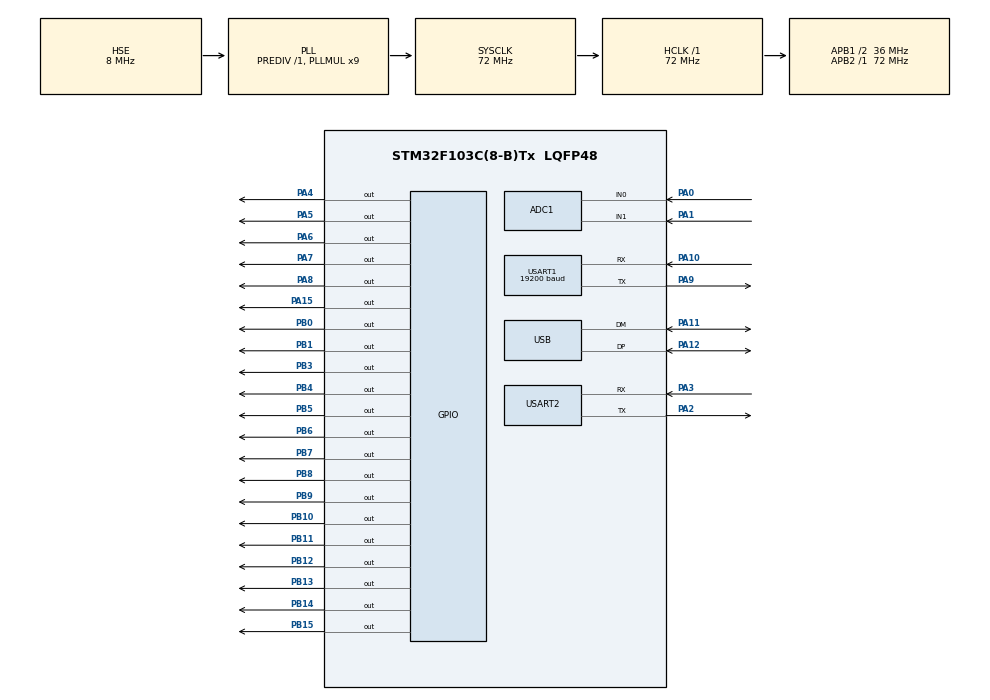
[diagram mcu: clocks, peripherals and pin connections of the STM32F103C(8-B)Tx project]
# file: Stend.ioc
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ADC1.Channel-0\#ChannelRegularConversion=ADC_CHANNEL_0
ADC1.Channel-1\#ChannelInjectedConversion=ADC_CHANNEL_0
ADC1.Channel-2\#ChannelInjectedConversion=ADC_CHANNEL_1
ADC1.ContinuousConvMode=DISABLE
ADC1.DataAlign=ADC_DATAALIGN_RIGHT
ADC1.DiscontinuousConvMode=ENABLE
ADC1.EnableAnalogWatchDog=false
ADC1.EnableRegularConversion=ENABLE
ADC1.ExternalTrigConv=ADC_SOFTWARE_START
ADC1.ExternalTrigInjecConv=ADC_INJECTED_SOFTWARE_START
ADC1.InjNumberOfConversion=2
ADC1.InjectedConvMode=None
ADC1.InjectedOffset-1\#ChannelInjectedConversion=0
ADC1.InjectedOffset-2\#ChannelInjectedConversion=0
ADC1.NbrOfConversion=1
ADC1.NbrOfConversionFlag=1
ADC1.NbrOfDiscConversion=1
ADC1.Rank-0\#ChannelRegularConversion=1
ADC1.Rank-1\#ChannelInjectedConversion=1
ADC1.Rank-2\#ChannelInjectedConversion=2
ADC1.SamplingTime-0\#ChannelRegularConversion=ADC_SAMPLETIME_1CYCLE_5
ADC1.SamplingTime-1\#ChannelInjectedConversion=ADC_SAMPLETIME_1CYCLE_5
ADC1.SamplingTime-2\#ChannelInjectedConversion=ADC_SAMPLETIME_1CYCLE_5
ADC1.ScanConvMode=ADC_SCAN_ENABLE
ADC1.master=1
FREERTOS.Tasks01=defaultTask,0,128,StartDefaultTask,Default,NULL
Mcu.Family=STM32F1
Mcu.Name=STM32F103C(8-B)Tx
Mcu.Package=LQFP48
NVIC.ADC1_2_IRQn=true\:5\:0\:false\:false\:true\:true\:true
NVIC.PriorityGroup=NVIC_PRIORITYGROUP_4
NVIC.TIM1_UP_IRQn=true\:0\:0\:false\:false\:true\:false\:false
NVIC.TimeBase=TIM1_UP_IRQn
NVIC.TimeBaseIP=TIM1
NVIC.USART1_IRQn=true\:5\:0\:false\:false\:true\:true\:true
NVIC.USART2_IRQn=true\:5\:0\:false\:false\:true\:true\:true
NVIC.USB_HP_CAN1_TX_IRQn=true\:5\:0\:false\:false\:true\:true\:true
NVIC.USB_LP_CAN1_RX0_IRQn=true\:5\:0\:false\:false\:true\:true\:false
PA0-WKUP.Signal=ADCx_IN0
PA1.Signal=ADCx_IN1
PA10.Mode=Asynchronous
PA10.Signal=USART1_RX
PA11.Mode=Device
PA11.Signal=USB_DM
PA12.Mode=Device
PA12.Signal=USB_DP
PA13.Mode=Serial_Wire
PA13.Signal=SYS_JTMS-SWDIO
PA14.Mode=Serial_Wire
PA14.Signal=SYS_JTCK-SWCLK
PA15.Signal=GPIO_Output
PA2.Mode=Asynchronous
PA2.Signal=USART2_TX
PA3.Mode=Asynchronous
PA3.Signal=USART2_RX
PA4.Signal=GPIO_Output
PA5.Signal=GPIO_Output
PA6.Signal=GPIO_Output
PA7.Signal=GPIO_Output
PA8.Signal=GPIO_Output
PA9.Mode=Asynchronous
PA9.Signal=USART1_TX
PB0.Signal=GPIO_Output
PB1.Signal=GPIO_Output
PB10.Signal=GPIO_Output
PB11.Signal=GPIO_Output
PB12.Signal=GPIO_Output
PB13.Signal=GPIO_Output
PB14.Signal=GPIO_Output
PB15.Signal=GPIO_Output
PB3.Signal=GPIO_Output
PB4.Signal=GPIO_Output
PB5.Signal=GPIO_Output
PB6.Signal=GPIO_Output
PB7.Signal=GPIO_Output
PB8.Signal=GPIO_Output
PB9.Signal=GPIO_Output
PD0-OSC_IN.Mode=HSE-External-Oscillator
PD0-OSC_IN.Signal=RCC_OSC_IN
PD1-OSC_OUT.Mode=HSE-External-Oscillator
PD1-OSC_OUT.Signal=RCC_OSC_OUT
ProjectManager.HeapSize=0x200
ProjectManager.StackSize=0x400
ProjectManager.TargetToolchain=MDK-ARM V5
RCC.ADCPresc=RCC_ADCPCLK2_DIV6
RCC.AHBFreq_Value=72000000
RCC.APB1CLKDivider=RCC_HCLK_DIV2
RCC.APB1Freq_Value=36000000
RCC.APB1TimFreq_Value=72000000
RCC.APB2Freq_Value=72000000
RCC.APB2TimFreq_Value=72000000
RCC.HCLKFreq_Value=72000000
RCC.PLLMUL=RCC_PLL_MUL9
RCC.SYSCLKFreq_VALUE=72000000
RCC.SYSCLKSource=RCC_SYSCLKSOURCE_PLLCLK
RCC.USBFreq_Value=48000000
RCC.USBPrescaler=RCC_USBCLKSOURCE_PLL_DIV1_5
SH.ADCx_IN0.0=ADC1_IN0,IN0
SH.ADCx_IN1.0=ADC1_IN1,IN1
USART1.BaudRate=19200
USART1.VirtualMode=VM_ASYNC
USART2.VirtualMode=VM_ASYNC
USB.ep0_mps=DEP0CTL_MPS_64
USB_DEVICE.CLASS_NAME_FS=CDC
USB_DEVICE.VirtualMode=Cdc
USB_DEVICE.VirtualModeFS=Cdc_FS
VP_FREERTOS_VS_ENABLE.Mode=Enabled
VP_RTC_VS_RTC_Activate.Mode=RTC_Enabled
VP_SYS_VS_tim1.Mode=TIM1
VP_USB_DEVICE_VS_USB_DEVICE_CDC_FS.Mode=CDC_FS
board=Stend

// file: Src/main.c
/**
  ******************************************************************************
  * @file           : main.c
  * @brief          : Main program body
  ******************************************************************************
  * This notice applies to any and all portions of this file
  * that are not between comment pairs USER CODE BEGIN and
  * USER CODE END. Other portions of this file, whether
  * inserted by the user or by software development tools
  * are owned by their respective copyright owners.
  *
  * Copyright (c) 2018 STMicroelectronics International N.V.
  * All rights reserved.
  *
  * Redistribution and use in source and binary forms, with or without
  * modification, are permitted, provided that the following conditions are met:
  *
  * 1. Redistribution of source code must retain the above copyright notice,
  *    this list of conditions and the following disclaimer.
  * 2. Redistributions in binary form must reproduce the above copyright notice,
  *    this list of conditions and the following disclaimer in the documentation
  *    and/or other materials provided with the distribution.
  * 3. Neither the name of STMicroelectronics nor the names of other
  *    contributors to this software may be used to endorse or promote products
  *    derived from this software without specific written permission.
  * 4. This software, including modifications and/or derivative works of this
  *    software, must execute solely and exclusively on microcontroller or
  *    microprocessor devices manufactured by or for STMicroelectronics.
  * 5. Redistribution and use of this software other than as permitted under
  *    this license is void and will automatically terminate your rights under
  *    this license.
  *
  * THIS SOFTWARE IS PROVIDED BY STMICROELECTRONICS AND CONTRIBUTORS "AS IS"
  * AND ANY EXPRESS, IMPLIED OR STATUTORY WARRANTIES, INCLUDING, BUT NOT
  * LIMITED TO, THE IMPLIED WARRANTIES OF MERCHANTABILITY, FITNESS FOR A
  * PARTICULAR PURPOSE AND NON-INFRINGEMENT OF THIRD PARTY INTELLECTUAL PROPERTY
  * RIGHTS ARE DISCLAIMED TO THE FULLEST EXTENT PERMITTED BY LAW. IN NO EVENT
  * SHALL STMICROELECTRONICS OR CONTRIBUTORS BE LIABLE FOR ANY DIRECT, INDIRECT,
  * INCIDENTAL, SPECIAL, EXEMPLARY, OR CONSEQUENTIAL DAMAGES (INCLUDING, BUT NOT
  * LIMITED TO, PROCUREMENT OF SUBSTITUTE GOODS OR SERVICES; LOSS OF USE, DATA,
  * OR PROFITS; OR BUSINESS INTERRUPTION) HOWEVER CAUSED AND ON ANY THEORY OF
  * LIABILITY, WHETHER IN CONTRACT, STRICT LIABILITY, OR TORT (INCLUDING
  * NEGLIGENCE OR OTHERWISE) ARISING IN ANY WAY OUT OF THE USE OF THIS SOFTWARE,
  * EVEN IF ADVISED OF THE POSSIBILITY OF SUCH DAMAGE.
  *
  ******************************************************************************
  */
#include "main.h"
#include "stm32f1xx_hal.h"
#include "cmsis_os.h"
#include "adc.h"
#include "rtc.h"
#include "usart.h"
#include "usb_device.h"
#include "gpio.h"

/* USER CODE BEGIN Includes */
#include "usbd_cdc_if.h"
#include "my_var.h"
/* USER CODE END Includes */

/* USER CODE BEGIN PV */
/* Private variables ---------------------------------------------------------*/
uint16_t rx1_uart_counter = 0;
uint16_t rx2_uart_counter = 0;
xQueueHandle UART1_Rx_Que;
xQueueHandle UART2_Rx_Que;
portBASE_TYPE xStatus_Rx_UART1;
portBASE_TYPE xStatus_Rx_UART2;
uint8_t rx1_byte[9];
uint8_t rx2_byte[10];
uint8_t rx1_byte_len = 9;
//float adcResult11 = 0;  //значение снятое с АЦП 1 канала
//float adcResult22 = 0;  //значение снятое с АЦП 2 канала
//float adcResult33 = 0;  //значение снятое с АЦП 3 канала
//float adcResult44 = 0;  //значение снятое с АЦП 4 канала
/* USER CODE END PV */

void SystemClock_Config(void);
void MX_FREERTOS_Init(void);

/* USER CODE BEGIN PFP */
/* Private function prototypes -----------------------------------------------*/

/* USER CODE END PFP */

/* USER CODE BEGIN 0 */
// Прием UART в USART1_IRQHandler
// исправления для rtc
//    HAL_PWR_EnableBkUpAccess();
//    /* Enable BKP CLK enable for backup registers */
//    __HAL_RCC_BKP_CLK_ENABLE();
//    /* RTC clock enable */
//    __HAL_RCC_RTC_ENABLE();
/* USER CODE END 0 */

int main(void)
{

  /* MCU Configuration----------------------------------------------------------*/

  /* Reset of all peripherals, Initializes the Flash interface and the Systick. */
  HAL_Init();

  /* Configure the system clock */
  SystemClock_Config();

  //HAL_Delay(2000);
  /* Initialize all configured peripherals */
  MX_GPIO_Init();
  MX_RTC_Init();
  MX_USART1_UART_Init();
	MX_USART2_UART_Init();
  MX_ADC1_Init();
  /* USER CODE BEGIN 2 */
	// Прием UART в USART1_IRQHandler
	UART1_Rx_Que = xQueueCreate(5, sizeof(rx1_byte));
	UART2_Rx_Que = xQueueCreate(5, sizeof(rx2_byte));
	//HAL_UART_Receive_IT (&huart1,(uint8_t*)&rx1_byte,9);
	//HAL_UART_Receive_IT (&huart2,(uint8_t*)&rx2_byte,4);

  /* USER CODE END 2 */

  /* Call init function for freertos objects (in freertos.c) */
  MX_FREERTOS_Init();

  /* Start scheduler */
  osKernelStart();

  /* We should never get here as control is now taken by the scheduler */

  /* Infinite loop */
  while (1)
  {
// uint8_t test[1];
//		test[0] = 1;
//		test[0] = 2;
//  /* USER CODE BEGIN 3 */
//  HAL_UART_Transmit(&huart1,(uint8_t*)test, 2,10);

  /* Infinite loop */
  }
  /* USER CODE END 3 */

}

void SystemClock_Config(void)
{

  RCC_OscInitTypeDef RCC_OscInitStruct;
  RCC_ClkInitTypeDef RCC_ClkInitStruct;
  RCC_PeriphCLKInitTypeDef PeriphClkInit;

    /**Initializes the CPU, AHB and APB busses clocks
    */
  RCC_OscInitStruct.OscillatorType = RCC_OSCILLATORTYPE_LSI|RCC_OSCILLATORTYPE_HSE;
  RCC_OscInitStruct.HSEState = RCC_HSE_ON;
  RCC_OscInitStruct.HSEPredivValue = RCC_HSE_PREDIV_DIV1;
  RCC_OscInitStruct.HSIState = RCC_HSI_ON;
  RCC_OscInitStruct.LSIState = RCC_LSI_ON;
  RCC_OscInitStruct.PLL.PLLState = RCC_PLL_ON;
  RCC_OscInitStruct.PLL.PLLSource = RCC_PLLSOURCE_HSE;
  RCC_OscInitStruct.PLL.PLLMUL = RCC_PLL_MUL9;
  if (HAL_RCC_OscConfig(&RCC_OscInitStruct) != HAL_OK)
  {
    _Error_Handler(__FILE__, __LINE__);
  }

    /**Initializes the CPU, AHB and APB busses clocks
    */
  RCC_ClkInitStruct.ClockType = RCC_CLOCKTYPE_HCLK|RCC_CLOCKTYPE_SYSCLK
                              |RCC_CLOCKTYPE_PCLK1|RCC_CLOCKTYPE_PCLK2;
  RCC_ClkInitStruct.SYSCLKSource = RCC_SYSCLKSOURCE_PLLCLK;
  RCC_ClkInitStruct.AHBCLKDivider = RCC_SYSCLK_DIV1;
  RCC_ClkInitStruct.APB1CLKDivider = RCC_HCLK_DIV2;
  RCC_ClkInitStruct.APB2CLKDivider = RCC_HCLK_DIV1;

  if (HAL_RCC_ClockConfig(&RCC_ClkInitStruct, FLASH_LATENCY_2) != HAL_OK)
  {
    _Error_Handler(__FILE__, __LINE__);
  }

  PeriphClkInit.PeriphClockSelection = RCC_PERIPHCLK_RTC|RCC_PERIPHCLK_ADC
                              |RCC_PERIPHCLK_USB;
  PeriphClkInit.RTCClockSelection = RCC_RTCCLKSOURCE_LSI;
  PeriphClkInit.AdcClockSelection = RCC_ADCPCLK2_DIV6;
  PeriphClkInit.UsbClockSelection = RCC_USBCLKSOURCE_PLL_DIV1_5;
  if (HAL_RCCEx_PeriphCLKConfig(&PeriphClkInit) != HAL_OK)
  {
    _Error_Handler(__FILE__, __LINE__);
  }

    /**Configure the Systick interrupt time
    */
  HAL_SYSTICK_Config(HAL_RCC_GetHCLKFreq()/1000);

    /**Configure the Systick
    */
  HAL_SYSTICK_CLKSourceConfig(SYSTICK_CLKSOURCE_HCLK);

  /* SysTick_IRQn interrupt configuration */
  HAL_NVIC_SetPriority(SysTick_IRQn, 15, 0);
}

/* USER CODE BEGIN 4 */
uint8_t rx1_uart_counter_error = 0;
void HAL_UART_RxCpltCallback (UART_HandleTypeDef *huart)
{
	if (huart == &huart1) {
		rx1_uart_counter ++;
		if (rx1_byte[0] != 0x00){
	    xStatus_Rx_UART1 = xQueueSendToBackFromISR(UART1_Rx_Que,&rx1_byte,0);
	  }
		for(uint8_t	 cl_i=0;cl_i<=8;cl_i++){
		  rx1_byte[cl_i] = 0;
	  }
	}
	if (huart == &huart2) {
		HAL_UART_Receive_IT (&huart2,rx2_byte,4);
		rx2_uart_counter ++;
		if (rx2_byte[0] == 0x04 || rx2_byte[0] == 0x05 || rx2_byte[0] == 0x03){
	    xStatus_Rx_UART2 = xQueueSendToBackFromISR(UART2_Rx_Que,&rx2_byte,0);
	  }
		else HAL_Delay(10);		//без этой задержки прием переодически отключается
		for(uint8_t	 cl_i=0;cl_i<=4;cl_i++){
		  rx2_byte[cl_i] = 0;
	  }
	}

}

//	HAL_UART_Receive_IT (&huart1,(uint8_t*)&rx1_byte,rx1_byte_len);
//	if (rx1_IRQ_uart_counter >= 9){
//	  xStatus_Rx_UART1 = xQueueSendToBackFromISR(UART1_Rx_Que,&rx1_byte,0);
//	  for (uint8_t uart_j=0;uart_j<=sizeof(rx1_byte)/sizeof(rx1_byte[0]);uart_j++ ){
//		  rx1_byte[uart_j] = 0;
//	  }
//		rx1_IRQ_uart_counter = 0;
//  }
//	rx2_IRQ_uart_counter ++;
//void HAL_ADCEx_InjectedConvCpltCallback (ADC_HandleTypeDef * hadc)
//{
//	adcResult11 = HAL_ADCEx_InjectedGetValue(&hadc1, ADC_INJECTED_RANK_1);
//	adcResult22 = HAL_ADCEx_InjectedGetValue(&hadc1, ADC_INJECTED_RANK_2);
//	adcResult33 = HAL_ADCEx_InjectedGetValue(&hadc1, ADC_INJECTED_RANK_3);
//	adcResult44 = HAL_ADCEx_InjectedGetValue(&hadc1, ADC_INJECTED_RANK_3);
//}
/* USER CODE END 4 */

void HAL_TIM_PeriodElapsedCallback(TIM_HandleTypeDef *htim)
{
  if (htim->Instance == TIM1) {
    HAL_IncTick();
  }
}

void _Error_Handler(char *file, int line)
{
  /* USER CODE BEGIN Error_Handler_Debug */
  /* User can add his own implementation to report the HAL error return state */
  while(1)
  {
		HAL_GPIO_WritePin(LED3_Off);
  }
  /* USER CODE END Error_Handler_Debug */
}

/************************ (C) COPYRIGHT STMicroelectronics *****END OF FILE****/

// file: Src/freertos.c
/**
  ******************************************************************************
  * File Name          : freertos.c
  * Description        : Code for freertos applications
  ******************************************************************************
  * This notice applies to any and all portions of this file
  * that are not between comment pairs USER CODE BEGIN and
  * USER CODE END. Other portions of this file, whether
  * inserted by the user or by software development tools
  * are owned by their respective copyright owners.
  *
  * Copyright (c) 2018 STMicroelectronics International N.V.
  * All rights reserved.
  *
  * Redistribution and use in source and binary forms, with or without
  * modification, are permitted, provided that the following conditions are met:
  *
  * 1. Redistribution of source code must retain the above copyright notice,
  *    this list of conditions and the following disclaimer.
  * 2. Redistributions in binary form must reproduce the above copyright notice,
  *    this list of conditions and the following disclaimer in the documentation
  *    and/or other materials provided with the distribution.
  * 3. Neither the name of STMicroelectronics nor the names of other
  *    contributors to this software may be used to endorse or promote products
  *    derived from this software without specific written permission.
  * 4. This software, including modifications and/or derivative works of this
  *    software, must execute solely and exclusively on microcontroller or
  *    microprocessor devices manufactured by or for STMicroelectronics.
  * 5. Redistribution and use of this software other than as permitted under
  *    this license is void and will automatically terminate your rights under
  *    this license.
  *
  * THIS SOFTWARE IS PROVIDED BY STMICROELECTRONICS AND CONTRIBUTORS "AS IS"
  * AND ANY EXPRESS, IMPLIED OR STATUTORY WARRANTIES, INCLUDING, BUT NOT
  * LIMITED TO, THE IMPLIED WARRANTIES OF MERCHANTABILITY, FITNESS FOR A
  * PARTICULAR PURPOSE AND NON-INFRINGEMENT OF THIRD PARTY INTELLECTUAL PROPERTY
  * RIGHTS ARE DISCLAIMED TO THE FULLEST EXTENT PERMITTED BY LAW. IN NO EVENT
  * SHALL STMICROELECTRONICS OR CONTRIBUTORS BE LIABLE FOR ANY DIRECT, INDIRECT,
  * INCIDENTAL, SPECIAL, EXEMPLARY, OR CONSEQUENTIAL DAMAGES (INCLUDING, BUT NOT
  * LIMITED TO, PROCUREMENT OF SUBSTITUTE GOODS OR SERVICES; LOSS OF USE, DATA,
  * OR PROFITS; OR BUSINESS INTERRUPTION) HOWEVER CAUSED AND ON ANY THEORY OF
  * LIABILITY, WHETHER IN CONTRACT, STRICT LIABILITY, OR TORT (INCLUDING
  * NEGLIGENCE OR OTHERWISE) ARISING IN ANY WAY OUT OF THE USE OF THIS SOFTWARE,
  * EVEN IF ADVISED OF THE POSSIBILITY OF SUCH DAMAGE.
  *
  ******************************************************************************
  */

#include "FreeRTOS.h"
#include "task.h"
#include "cmsis_os.h"

/* USER CODE BEGIN Includes */
#include "usbd_cdc_if.h"
#include "adc.h"
#include "rtc.h"
#include "usart.h"
#include "usb_device.h"
#include "gpio.h"
#include "my_var.h"
#include "math.h"

//проверка что в бит установленна единица
#define bitRead(data,bitno)            ((data >> bitno) & 0x01)
#define bitSet(data, bit)              ((data) |= (1UL << (bit)))
#define bitClear(data, bit)            ((data) &= ~(1UL << (bit)))
#define bitWrite(data, bit, bitvalue)  (bitvalue ? bitSet(data, bit) : bitClear(data, bit))

// преобразование из uint16_t в uint8_t
#define BYTE_0(n) ((uint8_t)((n) & (uint8_t)0xFF))        /*!< Returns the low byte of the 16-bit value */
#define BYTE_1(n) ((uint8_t)(BYTE_0((n) >> (uint8_t)8)))  /*!< Returns the second byte of the 16-bit value */
/* USER CODE END Includes */

// ключи на клапана и двигатели
#define Klapan_1_on Key2_On
#define Klapan_1_off Key2_Off
#define Klapan_2_on Key1_On
#define Klapan_2_off Key1_Off
#define Klapan_3_on Key4_On
#define Klapan_3_off Key4_Off
#define Klapan_4_on Key3_On
#define Klapan_4_off Key3_Off
#define Klapan_5_on Key6_On
#define Klapan_5_off Key6_Off
#define Klapan_6_on Key5_On
#define Klapan_6_off Key5_Off
#define Engine_1_on Key10_On
#define Engine_1_off Key10_Off
#define Engine_2_start_on Key9_On
#define Engine_2_start_off Key9_Off
#define Engine_2_reverse_on Key11_On
#define Engine_2_reverse_off Key11_Off
#define Engine_2_stop_on Key12_On
#define Engine_2_stop_off Key12_Off
//чтение клапанов и двигателя
#define Klapan_1 GPIOB,GPIO_PIN_12
#define Klapan_2 GPIOB,GPIO_PIN_13
#define Klapan_3 GPIOB,GPIO_PIN_14
#define Klapan_4 GPIOB,GPIO_PIN_3
#define Klapan_5 GPIOB,GPIO_PIN_4
#define Klapan_6 GPIOB,GPIO_PIN_5
#define Engine_1 GPIOB,GPIO_PIN_8
#define Engine_2_start GPIOB,GPIO_PIN_9
#define Engine_2_stop GPIOB,GPIO_PIN_10
#define Engine_2_reverse GPIOB,GPIO_PIN_11
// ДОБАВИТЬ РЕВЕРС

osThreadId defaultTaskHandle;
osThreadId myTask02Handle;
osThreadId myTask03Handle;
osThreadId myTask04Handle;
osThreadId myTask05Handle;
osThreadId myTask06Handle;
osThreadId myTask07Handle;
osThreadId myTask08Handle;
osThreadId myTask09Handle;
osThreadId myTask10Handle;
osThreadId myTask11Handle;

/* USER CODE BEGIN Variables */

uint8_t test_i = 0;
//union {
//   float a;
//   unsigned char bytes[4];
//} thing;
//{0xD6,0x6D,0x42,0x9E}; DC BA
unsigned char bytes[4] = {0x6D,0xD6,0x9E,0x42};
//volatile float float_variable = 0;
//volatile uint16_t crc_modbus = 0;

float liquid_level_sensor = 0;  //значение снятое с АЦП 1 канала
//усредняем значение
float sum_liquid_level_sensor = 0;
//истинное значение
float true_liquid_level_sensor = 0;

float temp_sensor = 0;  //значение снятое с АЦП 2 канала
//усредняем значение
float sum_temp_sensor = 0;
//истинное значение
float true_temp_sensor = 0;

uint8_t temperature = 0; //значение температуры
uint8_t liquid_level = 0; //уровень жидкости
uint16_t moment = 0; //момент
float moment_float = 0; //момент
uint16_t pressure = 0; //давление

uint8_t ReceiveData[2];
char str_rx[2];

xQueueHandle UART1_Tx_Que;//очередь на отправку в UART1
portBASE_TYPE xStatus_Tx_UART1;
uint8_t tx1_buffer_que[10];//буфер для очереди на отправку в UART1

xQueueHandle UART2_Tx_Que;//очередь на отправку в UART2
portBASE_TYPE xStatus_Tx_UART2;
uint8_t tx2_buffer_que[10];//буфер для очереди на отправку в UART2

HAL_StatusTypeDef TransmitStatusUART1 = HAL_TIMEOUT;
uint16_t len_tx1_buffer = 1;
uint8_t tx1_buffer_go[10];

HAL_StatusTypeDef TransmitStatusUART2 = HAL_TIMEOUT;
uint16_t len_tx2_buffer = 0;
uint8_t tx2_buffer_go[4];

uint8_t test1 = 0;
// Статус включения двигателя
uint8_t Engine_1_State = 0;
uint8_t Engine_2_StateStart = 0;
uint8_t Engine_2_StateStop = 0;
uint8_t Engine_2_StateReverse = 0;
uint8_t Klapan_6_State = 0;

HAL_StatusTypeDef TransmitStatusUSB = HAL_TIMEOUT;
uint8_t DataToSendUSB_1[8];
uint8_t DataToSendUSB_2[8];
uint8_t DataToSendUSB_all[24];
// массив с состоянием ключей
uint8_t key_read[6];
uint8_t i = 0;
// Флаг проверки коректного принятого сообщения
uint8_t new_message_flag = 0;
uint8_t rx_usb_message_count = 0; //кол-во элементов в буфере UART_1
uint8_t rx_usb_message[64]; //буфер UART_1
//флаг статуса работы
uint8_t hello = 0;
uint8_t book_load = 0;
uint8_t param_load = 0;
uint8_t exper_run = 0; // 1 - испытание 1, 2 - испытание 2, 3-испытание закончено, 0-испытание нет
uint8_t i_exper = 0;
uint8_t error_status = 0;
uint8_t error_status_buf = 0;
// Команды на включение двигателей
// 0=выкл,1=вкл,
uint8_t Engine_1_Command = 0;
// 0=выкл,1=вкл,-1=реверс
int8_t Engine_2_Command = 0;
//запрос ответа
uint8_t request_answer = 0;
//запрос данных
uint8_t request_data = 0;
// счетчик бит для ответов
uint8_t hearth_bit_answer = 0;
uint8_t old_hearth_bit_answer = 0;
//остановка по команде оператора
uint8_t flag_operator_stop = 0;
//остановка флаг аварийного режима
uint8_t flag_emergency_mode = 0;
// время до окончания аварийного режима
uint16_t time_emergency_mode = 0;
// параметры сценария = {3, 4, 5, 6, 7, 8, 9, 10, 11, 10};
uint16_t book_time[200];
uint16_t book_pressure[200] = {
 0,   0,  0,  5, 10, 15, 20, 25, 30, 35,
 40, 45, 50, 55, 60, 65, 70, 75, 80, 85,
 90, 95,100,105,110,115,120,125,130,135,
140,145,150,155,160,165,170,175,180,185,
190,195,200,195,190,185,180,175,170,165,
160,155,150,145,140,135,130,125,120,115,
110,105,100, 95, 90, 85, 80, 75, 70, 65,
 60, 55, 50, 45, 40, 35, 30, 25, 20, 15,
 10,  5,  0,  0,  0,  0,  5, 10, 15, 20, 25, 30, 35,
 40, 45, 50, 55, 60, 65, 70, 75, 80, 85,
 90, 95,100,105,110,115,120,125,130,135,
140,145,150,155,160,165,170,175,180,185,
190,195,200,195,190,185,180,175,170,165,
160,155,150,145,140,135,130,125,120,115,
110,105,100, 95, 90, 85, 80, 75, 70, 65,
 60, 55, 50, 45, 40, 35, 30, 25, 20, 15,
 10,  5,  0,  0,  0,  0};
uint8_t book_valve_state[200] = {
18, 37, 37, 37, 37, 37, 37, 37, 37, 37,
37, 37, 37, 37, 37, 37, 37, 37, 37, 37,
37, 37, 37, 37, 37, 37, 37, 37, 37, 37,
37, 37, 37, 37, 37, 37, 37, 37, 37, 37,
37, 37, 37, 37, 37, 37, 37, 37, 37, 37,
37, 37, 37, 37, 37, 37, 37, 37, 37, 37,
37, 37, 37, 37, 37, 37, 37, 37, 37, 37,
37, 37, 37, 37, 37, 37, 37, 37, 37, 37,
37, 37, 37, 32, 42, 42, 42, 42, 42, 42,
42, 42, 42, 42, 42, 42, 42, 42, 42, 42,
42, 42, 42, 42, 42, 42, 42, 42, 42, 42,
42, 42, 42, 42, 42, 42, 42, 42, 42, 42,
42, 42, 42, 42, 42, 42, 42, 42, 42, 42,
42, 42, 42, 42, 42, 42, 42, 42, 42, 42,
42, 42, 42, 42, 42, 42, 42, 42, 42, 42,
42, 42, 42, 42, 42, 42, 42, 42, 42, 42,
42, 42, 42, 42, 42, 42,  0, 20,  0};
uint8_t book_engine_state[200]= {
 2,  0,  1,  1,  1,  1,  1,  1,  1,  1,
 1,  1,  1,  1,  1,  1,  1,  1,  1,  1,
 1,  1,  1,  1,  1,  1,  1,  1,  1,  1,
 1,  1,  1,  1,  1,  1,  1,  1,  1,  1,
 1,  1,  1,  1,  1,  1,  1,  1,  1,  1,
 1,  1,  1,  1,  1,  1,  1,  1,  1,  1,
 1,  1,  1,  1,  1,  1,  1,  1,  1,  1,
 1,  1,  1,  1,  1,  1,  1,  1,  1,  1,
 1,  1,  1,  1,  1,  1,  1,  1,  1,  1,
 1,  1,  1,  1,  1,  1,  1,  1,  1,  1,
 1,  1,  1,  1,  1,  1,  1,  1,  1,  1,
 1,  1,  1,  1,  1,  1,  1,  1,  1,  1,
 1,  1,  1,  1,  1,  1,  1,  1,  1,  1,
 1,  1,  1,  1,  1,  1,  1,  1,  1,  1,
 1,  1,  1,  1,  1,  1,  1,  1,  1,  1,
 1,  1,  1,  1,  1,  1,  1,  1,  1,  1,
 1,  1,  1,  1,  1,  1,  0,  4,  0};

// параметры ЭД2
uint8_t t_zap_akv = 60;
uint8_t t_otk_akv = 60;
uint8_t h_min = 30;
uint8_t h_max_1 = 81;
uint8_t h_max_2 = 70;
uint8_t h_max = 81;

uint16_t book_len_p1 = 0;
uint16_t book_len_p2 = 0;
uint16_t book_len = 169;
uint8_t book_i = 0;
//контрольная сумма
uint16_t my_crc = 0;
// время эксперимента
uint16_t exper_time = 0;
// счетчик ошибок связи
uint8_t miss_communication_count = 0;
// давление для отправки
float p_value_f = 0;
uint8_t p_value_bit = 0;
uint16_t p_value_rs232 = 0;

uint8_t rx1_buffer_count = 0; //кол-во элементов в буфере UART_1
uint8_t rx1_buffer[64]; //буфер UART_1

uint8_t rx1_message[9];
uint16_t rx1_message_count = 0;

// Флаг проверки коректного принятого сообщения
uint8_t new_message_flag_uart = 0;
// задаваемое давление
float sended_pressure = 0;
// проверки связи с ZETLAB
uint8_t zetlab_not_connected = 0;
uint16_t zetlab_wait_answer = 0;
uint8_t moment_request = 0;
// проверки связи с РД
uint8_t pressure_not_connected = 0;
uint16_t pressure_wait_answer = 0;
uint8_t pressure_request = 0;

uint16_t Hearth_Bit = 0;
/* USER CODE END Variables */

void StartDefaultTask(void const * argument);
void Read_ADC(void const * argument);
void Read_USB(void const * argument);
void Send_UART1(void const * argument);
void Send_UART2(void const * argument);
void Send_USB(void const * argument);
void Exper_run(void const * argument);
//void Read_UART(void const * argument);
void ReceiveUART1(void const * argument);
void ReceiveUART2(void const * argument);
void CheckError(void const * argument);
void FillLiquid(void const * argument);
//void MeanADC(void const * argument);

extern void MX_USB_DEVICE_Init(void);
void MX_FREERTOS_Init(void); /* (MISRA C 2004 rule 8.1) */

/* USER CODE BEGIN FunctionPrototypes */
void Test(char w);
void ClearBuffer(uint8_t *buffer,uint16_t *len_buffer);
void Send_Pressure_RS232(uint16_t value);
void Control_Engine_2(int8_t command,uint8_t Klapan_6_Readed);
void My_Delay(uint32_t time_delay);
void My_Emergency(uint32_t time_delay);

uint16_t CRC16_2(unsigned char *buf, int len);
uint16_t crc_16_ibm(uint8_t *buf, uint16_t len);
uint8_t Check_crc_16_modbus(uint8_t *buf, uint16_t len);
uint8_t Check_crc_16(uint8_t *buf, uint16_t len);
/* USER CODE END FunctionPrototypes */

/* Hook prototypes */

/* Init FreeRTOS */

void MX_FREERTOS_Init(void) {
  /* USER CODE BEGIN Init */
	book_time[0] = 0;
	book_time[1] = 400;
	uint16_t now_time = 400;
	//Заполнение массива времени
  for (uint16_t i_book_time=2;i_book_time<book_len-1;i_book_time++){
	  book_time[i_book_time] = now_time+((i_book_time-1)*30);
	}
	book_time[168] = 5900;
  /* USER CODE END Init */

  /* Create the thread(s) */
  /* definition and creation of defaultTask */
  osThreadDef(defaultTask, StartDefaultTask, osPriorityNormal, 0, 256);
  defaultTaskHandle = osThreadCreate(osThread(defaultTask), NULL);

  /* USER CODE BEGIN RTOS_THREADS */
  osThreadDef(myTask02, Read_ADC, osPriorityIdle, 0, 128);
  myTask02Handle = osThreadCreate(osThread(myTask02), NULL);

  osThreadDef(myTask03, Read_USB, osPriorityLow, 0, 256);
  myTask03Handle = osThreadCreate(osThread(myTask03), NULL);

  osThreadDef(myTask04, Send_UART1, osPriorityBelowNormal, 0, 128);
  myTask04Handle = osThreadCreate(osThread(myTask04), NULL);

	osThreadDef(myTask05, Send_USB, osPriorityIdle, 0, 128);
  myTask05Handle = osThreadCreate(osThread(myTask05), NULL);

	osThreadDef(myTask06, Exper_run, osPriorityLow, 0, 128);
  myTask06Handle = osThreadCreate(osThread(myTask06), NULL);

	osThreadDef(myTask07, Send_UART2, osPriorityAboveNormal, 0, 128);
  myTask07Handle = osThreadCreate(osThread(myTask07), NULL);

	osThreadDef(myTask08, ReceiveUART1, osPriorityHigh, 0, 128);
  myTask08Handle = osThreadCreate(osThread(myTask08), NULL);

	osThreadDef(myTask09, ReceiveUART2, osPriorityHigh, 0, 128);
  myTask09Handle = osThreadCreate(osThread(myTask09), NULL);

	osThreadDef(myTask10, CheckError, osPriorityNormal, 0, 128);
  myTask10Handle = osThreadCreate(osThread(myTask10), NULL);

	osThreadDef(myTask11, FillLiquid, osPriorityLow, 0, 128);
  myTask11Handle = osThreadCreate(osThread(myTask11), NULL);
  /* USER CODE END RTOS_THREADS */

  /* USER CODE BEGIN RTOS_QUEUES */
	UART1_Tx_Que = xQueueCreate(5, sizeof(tx1_buffer_que));
	UART2_Tx_Que = xQueueCreate(5, sizeof(tx2_buffer_que));
  /* add queues, ... */

	//osDelay(10000);
  /* USER CODE END RTOS_QUEUES */
}

/* StartDefaultTask function */
void StartDefaultTask(void const * argument)
{
  /* init code for USB_DEVICE */
  MX_USB_DEVICE_Init();
	HAL_GPIO_WritePin(LED3_On);

//	float_variable = *(float *)&bytes;
//	crc_modbus = CRC16_2(&bytes[4], 4);
	// подадим давление 0 Бар на регулятор
	Send_Pressure_RS232(0);

	uint16_t ADC_2V = 2423; // это 100 %
	uint16_t ADC_0_4V = 432; // это 0%
	float TEMP_k = 0.197;
	float TEMP_b = -89.375;
	uint8_t i_adc_l = 0;
	uint8_t i_adc_t = 0;

	uint8_t pressure_error_counter = 0;
	float temperature_Float = 0;
  /* USER CODE BEGIN StartDefaultTask */

  /* Infinite loop */
  for(;;)
  {
		Hearth_Bit ++;
		// Температура
		if (i_adc_t >= 10){
		  true_temp_sensor = (sum_temp_sensor/100.0);
			// если на АЦП 0, то температура 0
		  if (true_temp_sensor != 0) {
				temperature_Float = ((true_temp_sensor*TEMP_k) + TEMP_b);
				if (temperature_Float <= -50) temperature_Float = 50;
				if (temperature_Float >= 205) temperature_Float = 205;
				temperature = (uint8_t)roundf(temperature_Float + 50);
				//test_i = roundf(((true_temp_sensor*TEMP_k) + TEMP_b));
			}
		  else temperature = 0;
		  sum_temp_sensor = 0;
		  i_adc_t = 0;
		}
		else {
			i_adc_t++;
		}
		// Уровень жидкости
		if (i_adc_l >= 10){
		  true_liquid_level_sensor = sum_liquid_level_sensor/100.0;
		  sum_liquid_level_sensor = 0;
		  i_adc_l = 0;
			// если на АЦП 0, то уровень жидкости 0
		  if (true_liquid_level_sensor != 0) liquid_level = (uint8_t)(((true_liquid_level_sensor-ADC_0_4V)*100.0)/(ADC_2V-ADC_0_4V));
      else liquid_level = 0;
		  if (liquid_level>100) liquid_level = 100;
		}
		else {
			i_adc_l++;
		}

		tx1_buffer_que[0] = 0x05;
		tx1_buffer_que[1] = 0x03;
		tx1_buffer_que[2] = 0x00;
		tx1_buffer_que[3] = 0x14;
		tx1_buffer_que[4] = 0x00;
		tx1_buffer_que[5] = 0x02;
		tx1_buffer_que[6] = 0x85;
		tx1_buffer_que[7] = 0x8B;
		len_tx1_buffer = 8;
			/*
		  Для тестирования
			tx1_buffer_que[0] = 0x05;
		  tx1_buffer_que[1] = 0x05;
		  tx1_buffer_que[2] = 0x05;
		  tx1_buffer_que[3] = 0x05;
		  tx1_buffer_que[4] = 0x05;
		  tx1_buffer_que[5] = 0x05;
			tx1_buffer_que[6] = 0x05;
		  tx1_buffer_que[7] = 0x51;
		  tx1_buffer_que[8] = 0xCB;
		  len_tx1_buffer = 9;
			*/
		  //включаем прием сообщения
		  //HAL_UART_Receive_IT (&huart1,(uint8_t*)&rx1_byte,9);
		  // отправляем запрос момента
		xStatus_Tx_UART1 = xQueueSendToBack(UART1_Tx_Que,&tx1_buffer_que,0);
		//Проверяем пришел ли ответ на прошлый вопрос, если нет
    // устанавливаем флаг, что нет связи с ZETLAB
		if (zetlab_wait_answer >= 30){
			zetlab_not_connected = 1;
			zetlab_wait_answer = 30;
			moment = 0;
		}
		else zetlab_not_connected = 0;
		//Инкрементируем переменную ждем ответа
		// Обнуляем ее в приеме
		zetlab_wait_answer ++;
		//Давление
    osDelay(50);
		//запрос давления
	  tx2_buffer_que[0] = 0x02;
	  tx2_buffer_que[1] = 0x3F;
	  len_tx2_buffer = 2;
//		/*
//		Для тестирования
//		tx2_buffer_que[0] = 0x04;
//	  tx2_buffer_que[1] = 0xBF;
//		tx2_buffer_que[2] = 0x00;
//		tx2_buffer_que[3] ++;
//	  len_tx2_buffer = 4;
//		*/
	  //включаем прием сообщения
	  //HAL_UART_Receive_IT (&huart2,(uint8_t*)&rx2_byte,4);
	  // отправляем запрос давления
	  xStatus_Tx_UART2 = xQueueSendToBack(UART2_Tx_Que,&tx2_buffer_que,0);
		//Проверяем пришел ли ответ на прошлый вопрос, если нет
    // устанавливаем флаг, что нет связи с регулятором давления
		if (pressure_wait_answer >= 30){
			pressure_not_connected = 1;
			pressure = 0;
			pressure_wait_answer = 30;
			//HAL_UART_Receive_IT (&huart2,(uint8_t*)&rx2_byte,4);
		}
		else pressure_not_connected = 0;
		if (pressure_wait_answer >= 5) HAL_UART_Receive_IT (&huart2,rx2_byte,1);
		//Инкрементируем переменную ждем ответа
		// Обнуляем ее в приеме
		pressure_wait_answer ++;
		// отсчет времени эксперимента
		if (exper_run != 0)
		{
			HAL_GPIO_TogglePin(LED3_Toggle);
			// инкрементируем время
			exper_time ++;
			//проверка на ошибки
		  if (temperature>135)error_status = 1;
		  if (liquid_level<10)error_status = 2;
		  if (moment>700)error_status = 3;
		  if (pressure>400) pressure_error_counter ++;
			else pressure_error_counter = 0;
			if (pressure_error_counter >=10) {
				error_status = 4;
				pressure_error_counter = 10;
			}
			if (old_hearth_bit_answer == hearth_bit_answer){
				miss_communication_count++;
			}
			else miss_communication_count = 0;
		}
		else exper_time = 0;
		old_hearth_bit_answer = hearth_bit_answer;
		if (miss_communication_count>=20){
		  error_status = 5;
		  miss_communication_count = 0;
		}
    osDelay(50);
  }
  /* USER CODE END StartDefaultTask */
}

void CheckError(void const * argument)
{
  /* init code for USB_DEVICE */
  /* USER CODE BEGIN CheckError */

  /* Infinite loop */
  for(;;)
  {
		//Обработка ошибки
		if (error_status != 0)
		{
			exper_run = 0;
			miss_communication_count = 0;
			hello = 0;
			osDelay(100);
			// Эксперимент завершен по ошибке
			if (error_status == 1) DataToSendUSB_1[0] = 0xE2;
			if (error_status == 2) DataToSendUSB_1[0] = 0xE3;
			if (error_status == 3) DataToSendUSB_1[0] = 0xE4;
			if (error_status == 4) DataToSendUSB_1[0] = 0xE5;
			if (error_status == 5) DataToSendUSB_1[0] = 0xE6; // потеряна связь с компьютером
			DataToSendUSB_1[1] = 0x04;
			// Контрольная сумма
			my_crc = crc_16_ibm(DataToSendUSB_1,DataToSendUSB_1[1] - 2);
		  DataToSendUSB_1[2] = (uint8_t)(my_crc >> 8);
		  DataToSendUSB_1[3] = (uint8_t)(my_crc);
			// отправка сообщения
			CDC_Transmit_FS(DataToSendUSB_1, DataToSendUSB_1[1]);
			osDelay(500);
			//выключение двигателей и закрытие клапанов
			HAL_GPIO_WritePin(Klapan_1_off);
			HAL_GPIO_WritePin(Klapan_2_off);
			HAL_GPIO_WritePin(Klapan_6_off);
			HAL_GPIO_WritePin(Engine_1_off);
			HAL_GPIO_WritePin(Engine_2_start_off);
			HAL_GPIO_WritePin(Engine_2_reverse_off);
			Klapan_6_State = 0;
			Send_Pressure_RS232(0);
			//включаем передачу данных после отправки команды о выключении и запоминаем ошибку
			error_status_buf = error_status;
			error_status = 0;
			hello = 1;
			flag_emergency_mode = 1;
			time_emergency_mode = 200*10;
			HAL_GPIO_WritePin(Klapan_3_on);
			HAL_GPIO_WritePin(Klapan_4_on);
			HAL_GPIO_WritePin(Klapan_5_on);
			My_Emergency(200*1000);
			HAL_GPIO_WritePin(Klapan_3_off);
			HAL_GPIO_WritePin(Klapan_4_off);
			HAL_GPIO_WritePin(Klapan_5_off);
			exper_run = 0;
			time_emergency_mode = 0;
			flag_emergency_mode = 0;
		}
    osDelay(100);
  }
  /* USER CODE END CheckError */
}
void FillLiquid(void const * argument)
{
  /* init code for USB_DEVICE */
  /* USER CODE BEGIN FillLiquid */

  /* Infinite loop */
  for(;;)
  {
		if (exper_run == 1)
		{
			if (((liquid_level<=h_min) || (Engine_2_Command == 1)) && Engine_2_Command != -1)
			{
       //заполнение жидкостью
       Engine_2_Command	= 1;
			}
			if (liquid_level >= h_max && Engine_2_Command != -1) Engine_2_Command = 0;
			// вызов функции управления ЭД2 и клапан 6
			Control_Engine_2(Engine_2_Command,Klapan_6_State);
		}
		else if (Engine_2_Command == 0 && exper_run == 0 && flag_emergency_mode == 0){
	    //закрытие клапанов
	    HAL_GPIO_WritePin(Klapan_3_off);
	    HAL_GPIO_WritePin(Klapan_4_off);
	    HAL_GPIO_WritePin(Klapan_5_off);
		  Control_Engine_2(Engine_2_Command,Klapan_6_State);
			//Выключение ЭД2
		}
		if (Engine_2_Command == -1){
			 Control_Engine_2(Engine_2_Command,Klapan_6_State);
		}
    osDelay(100);
  }
  /* USER CODE END FillLiquid */
}
/* USER CODE BEGIN Application */
void Read_ADC(void const * argument)
{
  /* USER CODE BEGIN Read_ADC */

  /* Infinite loop */
  for(;;)
  {
		//считывание значений с АЦП
		HAL_ADCEx_InjectedStart_IT(&hadc1);
		temp_sensor =(HAL_ADCEx_InjectedGetValue(&hadc1, ADC_INJECTED_RANK_1));
		//усредняем значение температуры
		sum_temp_sensor = sum_temp_sensor + temp_sensor;

		liquid_level_sensor =(HAL_ADCEx_InjectedGetValue(&hadc1, ADC_INJECTED_RANK_2));
		//усредняем значение уровня жидкости
		sum_liquid_level_sensor = sum_liquid_level_sensor + liquid_level_sensor;
		osDelay(10);
	}  /* USER CODE END Read_ADC */
}
void Exper_run(void const * argument)
{
  /* USER CODE BEGIN Read_ADC */
  /* Infinite loop */
  for(;;)
  {
		// все выключаем если не идет эксперимент
 		if (exper_run == 0 && Engine_2_Command == 0 && flag_emergency_mode == 0)
		{
			HAL_GPIO_WritePin(Klapan_1_off);
			HAL_GPIO_WritePin(Klapan_2_off);
			HAL_GPIO_WritePin(Klapan_3_off);
			HAL_GPIO_WritePin(Klapan_4_off);
			HAL_GPIO_WritePin(Klapan_5_off);
			HAL_GPIO_WritePin(Klapan_6_off);
			HAL_GPIO_WritePin(Engine_1_off);
			HAL_GPIO_WritePin(Engine_2_start_off);
			HAL_GPIO_WritePin(Engine_2_stop_off);
			HAL_GPIO_WritePin(Engine_2_reverse_off);
			Klapan_6_State = 0;
			//if (pressure > 0) Send_Pressure_RS232(0);
			Send_Pressure_RS232(0);
		}
		//если пришел запрос на старт
		if (exper_run == 1)
		{
			for (i_exper=0;i_exper<(book_len);i_exper++)
		  {
				// ожидание
				// идет первым т.к. в массиве содержится время эксперимента, а не время ожидания
				if (i_exper == 0) My_Delay(book_time[i_exper]*100);
				else My_Delay((book_time[i_exper]-book_time[i_exper-1])*100);
				// изменения максимального уровня жидкости
				if (i_exper <= 1)	h_max = h_max_1;
				else h_max = h_max_2;

				// управление клапанами и двигателемя
				// состояние клапана 1
				if (bitRead(book_valve_state[i_exper],0)==1 && exper_run == 1) HAL_GPIO_WritePin(Klapan_1_on);
				else HAL_GPIO_WritePin(Klapan_1_off);
				// состояние клапана 2
				if (bitRead(book_valve_state[i_exper],1)==1 && exper_run == 1) HAL_GPIO_WritePin(Klapan_2_on);
				else HAL_GPIO_WritePin(Klapan_2_off);
				// состояние клапана 3
				if (bitRead(book_valve_state[i_exper],2)==1 && exper_run == 1) HAL_GPIO_WritePin(Klapan_3_on);
				else HAL_GPIO_WritePin(Klapan_3_off);
				// состояние клапана 4
				if (bitRead(book_valve_state[i_exper],3)==1 && exper_run == 1) HAL_GPIO_WritePin(Klapan_4_on);
				else HAL_GPIO_WritePin(Klapan_4_off);
				// состояние клапана 5
				if (bitRead(book_valve_state[i_exper],4)==1 && exper_run == 1) HAL_GPIO_WritePin(Klapan_5_on);
				else HAL_GPIO_WritePin(Klapan_5_off);
				// состояние клапана 6 работает по алгоритму слива и наполнения
				if (bitRead(book_valve_state[i_exper],5)==1 && exper_run == 1) Klapan_6_State = 1;
				else Klapan_6_State = 0;
				// состояние ЭД1
				if (bitRead(book_engine_state[i_exper],0)==1 && exper_run == 1) HAL_GPIO_WritePin(Engine_1_on);
				else HAL_GPIO_WritePin(Engine_1_off);
				// состояние ЭД2
				if (bitRead(book_engine_state[i_exper],1)==1 && exper_run == 1) Engine_2_Command = 1;
				else if (bitRead(book_engine_state[i_exper],2)==1 && exper_run == 1) Engine_2_Command = -1;
				else Engine_2_Command = 0;
				//Отправка давления для подпоршневой зоны в регулятор давления
				sended_pressure = book_pressure[i_exper];
				Send_Pressure_RS232(book_pressure[i_exper]);
				// выход по ошибке
				if (exper_run == 0) i_exper = book_len;
			}
			//Окончание испытания
			if (exper_run == 1) exper_run = 3;
		}
		HAL_GPIO_TogglePin(LED3_Toggle);
		osDelay(500);
	}  /* USER CODE END Read_ADC */
}
void Send_USB(void const * argument)
{
  /* USER CODE BEGIN Read_ADC */
  const uint16_t PERIOD_TO_SEND = 100;
  /* Infinite loop */
  for(;;)
  {
		// подключение установлено
		if (hello == 1 && book_load  == 0 && param_load == 0 && exper_run == 0 && request_answer == 1)
		{
		  DataToSendUSB_1[0] = 0x21;
		  DataToSendUSB_1[1] = 0x04;
		  my_crc = crc_16_ibm(DataToSendUSB_1,2);
		  DataToSendUSB_1[2] = (uint8_t)(my_crc >> 8);
		  DataToSendUSB_1[3] = (uint8_t)(my_crc);

		  CDC_Transmit_FS(DataToSendUSB_1, 4);
			request_answer = 0;
			osDelay(PERIOD_TO_SEND);
		}
		// сценарий загружен
		if (book_load == 1 && param_load == 0 && exper_run == 0 && request_answer == 1)
		{
			DataToSendUSB_1[0] = 0xAA;
		  DataToSendUSB_1[1] = 0x04;
		  my_crc = crc_16_ibm(DataToSendUSB_1,2);
		  DataToSendUSB_1[2] = (uint8_t)(my_crc >> 8);
		  DataToSendUSB_1[3] = (uint8_t)(my_crc);

		  CDC_Transmit_FS(DataToSendUSB_1, 4);
			request_answer = 0;
			osDelay(PERIOD_TO_SEND);
		}
		if (hello == 1 && request_data == 1)
		{
			//Заполнение отправляемых данных
			// если запущен аварийный режим то шлем 0xDF
			if (flag_emergency_mode == 0) {
				DataToSendUSB_1[0] = 0xDD;
				DataToSendUSB_1[1] = 0x0E;
			  DataToSendUSB_1[2] = (uint8_t)(exper_time >> 8);
		    DataToSendUSB_1[3] = (uint8_t)(exper_time);
			}
			else {
				DataToSendUSB_1[0] = 0xDF;
				DataToSendUSB_1[1] = 0x0E;
			  DataToSendUSB_1[2] = (uint8_t)(time_emergency_mode >> 8);
		    DataToSendUSB_1[3] = (uint8_t)(time_emergency_mode);
			}
			DataToSendUSB_1[4] = (uint8_t)(pressure >> 8);
			DataToSendUSB_1[5] = (uint8_t)(pressure);
			//DataToSendUSB_1[4] = (uint8_t)(test_i);
			//test_i = test_i + 1;
		  DataToSendUSB_1[6] = (uint8_t)(moment >> 8);
		  DataToSendUSB_1[7] = (uint8_t)(moment);
//			// отправка первой части сообщения
//			CDC_Transmit_FS(DataToSendUSB_1, 8);
//			// задержка, чтобы контроллер успел отправить сообщение
//			osDelay(30);
			// Статус клапанов
			key_read[0] = HAL_GPIO_ReadPin(Klapan_1);
			key_read[1] = HAL_GPIO_ReadPin(Klapan_2);
			key_read[2] = HAL_GPIO_ReadPin(Klapan_3);
			key_read[3] = HAL_GPIO_ReadPin(Klapan_4);
			key_read[4] = HAL_GPIO_ReadPin(Klapan_5);
			key_read[5] = HAL_GPIO_ReadPin(Klapan_6);
			//сначала обнуляем байт
			DataToSendUSB_2[0] = 0;
			for (i=0;i<6;i++)
		  {
			 //если ключ открыт записать единицу, закрыт 0
			 if (key_read[i] == 1) bitSet(DataToSendUSB_2[0],i);
			 else bitClear(DataToSendUSB_2[0],i);
		  }
			// Статус двигателя 1
			Engine_1_State = HAL_GPIO_ReadPin(Engine_1);
			//сначала обнуляем байт
			DataToSendUSB_2[1] = 0;
		  // заполнение
			//если двигатель включен записать единицу, закрыт 0
			if (Engine_1_State == 1) bitSet(DataToSendUSB_2[1],0);
			else bitClear(DataToSendUSB_2[1],0);
			// двигатель 2
			if (Engine_2_StateStart == 1) bitSet(DataToSendUSB_2[1],1);
			else bitClear(DataToSendUSB_2[1],1);
			// двигатель 2 реверс
			if (Engine_2_StateReverse == 1) bitSet(DataToSendUSB_2[1],2);
			else bitClear(DataToSendUSB_2[1],2);
			// Связь c ZETLAB отсутствует
			if (zetlab_not_connected == 1) bitSet(DataToSendUSB_2[1],3);
			else bitClear(DataToSendUSB_2[1],3);
			// Связь c регулятором давления отсутствует отсутствует
			if (pressure_not_connected == 1) bitSet(DataToSendUSB_2[1],4);
			else bitClear(DataToSendUSB_2[1],4);
			// запись температуры
			DataToSendUSB_2[2] = (uint8_t)(temperature);
			// Запись уровня жидкости
			DataToSendUSB_2[3] = (uint8_t)(liquid_level);
			// получим общий массив для расчета контрольной суммы
			for (i=0;i<16;i++)
		  { if (i<8) DataToSendUSB_all[i] = DataToSendUSB_1[i];
				else if (i>=8) DataToSendUSB_all[i] = DataToSendUSB_2[i-8];
			}
			// Контрольная сумма
			my_crc = crc_16_ibm(DataToSendUSB_all,DataToSendUSB_1[1]-2);
//		  DataToSendUSB_2[4] = (uint8_t)(my_crc >> 8);
//		  DataToSendUSB_2[5] = (uint8_t)(my_crc);
			// отправка сообщения
//			TransmitStatusUSB = CDC_Transmit_FS(DataToSendUSB_all, DataToSendUSB_1[1]-8);
			DataToSendUSB_all[12] = (uint8_t)(my_crc >> 8);
		  DataToSendUSB_all[13] = (uint8_t)(my_crc);
			TransmitStatusUSB = CDC_Transmit_FS(DataToSendUSB_all, DataToSendUSB_1[1]);
			request_data = 0;
		}
		// испытание завершено ошибок нет
		if ((exper_run == 3) && (error_status == 0) && flag_operator_stop == 0)
		{
			osDelay(PERIOD_TO_SEND);
			// Эксперимент завершен
			DataToSendUSB_1[0] = 0xEE;
			DataToSendUSB_1[1] = 0x04;
			// Контрольная сумма
			my_crc = crc_16_ibm(DataToSendUSB_1,DataToSendUSB_1[1] - 2);
		  DataToSendUSB_1[2] = (uint8_t)(my_crc >> 8);
		  DataToSendUSB_1[3] = (uint8_t)(my_crc);
			// отправка сообщения
			CDC_Transmit_FS(DataToSendUSB_1, DataToSendUSB_1[1]);
			osDelay(PERIOD_TO_SEND);
			exper_run = 0;
		}
		if (flag_operator_stop == 1){
			exper_run = 0;
			osDelay(PERIOD_TO_SEND);
			// Эксперимент завершен по команде оператора
			DataToSendUSB_1[0] = 0xE1;
			DataToSendUSB_1[1] = 0x04;
			// Контрольная сумма
			my_crc = crc_16_ibm(DataToSendUSB_1,DataToSendUSB_1[1] - 2);
		  DataToSendUSB_1[2] = (uint8_t)(my_crc >> 8);
		  DataToSendUSB_1[3] = (uint8_t)(my_crc);
			// отправка сообщения
			CDC_Transmit_FS(DataToSendUSB_1, DataToSendUSB_1[1]);
			osDelay(PERIOD_TO_SEND);
			//включаем передачу данных после отправки команды о выключении
      hello = 1;
		  flag_operator_stop = 0;
		}
		osDelay(PERIOD_TO_SEND);
	}  /* USER CODE END Read_ADC */
}
void Read_USB(void const * argument)
{
  /* USER CODE BEGIN Read_USB */
	uint8_t clear_i = 0;
  /* Infinite loop */
  for(;;)
  {
		//считывание данных по USB
		if (receive_usb_total>=2)
		{
			new_message_flag = Check_crc_16(received_usb_data,receive_usb_total);
		}

		if (new_message_flag == 1)
		{
			//принято приветствие
			if (received_usb_data[0] == 0x21 && received_usb_data[1] == 0x04)
			{
				//Обновление статусов
				book_load  = 0;
				param_load = 0;
				exper_run = 0;
				hello = 1;
				//отправка ответа
				request_answer = 1;
				// очищение буфера
        ClearBuffer(received_usb_data,&receive_usb_total);
		    receive_usb_total = 0;
		    clear_i = 0;
			}
			//принят сценарий
			if (received_usb_data[0] == 0xCC)
			{
				//очистка сценария
				for (i=0;i<200;i++)
		    {
					book_time[i] = 0;
					book_pressure[i] = 0;
					book_valve_state[i] = 0;
					book_engine_state[i] = 0;
				}
        //запись сценария
				// первый байт страший
				book_len_p1 = (uint16_t)(received_usb_data[1]*256);
				// второй байт
				// вычисляем длину сценария 5 = 1+2+2 = номер команды + длина сообщения + CRC
				// делим на 6 т.к. 1 строка это 6 байта (2 время, 2 давление, 1 состояние клапанов, 1 состояние двигателя)
				book_len_p2 = (uint16_t)(received_usb_data[2]-5);
				book_len = roundf((float)(book_len_p1 + book_len_p2)/6.0);
				for (i=0;i<book_len;i++)
		    {
					// +3 = номер комнады + длина сообщения, i*2 т.к. два байта
					book_time[i] = ((received_usb_data[(i*2)+3]) * 256) + (received_usb_data[(i*2)+3+1]); //склейка
					//пропускаем первые три байта (1=номер команды + 2=длина сообщения) и массив времени
					book_pressure[i] = ((received_usb_data[(i*2)+(book_len*2)+3])*256)+(received_usb_data[(i*2)+(book_len*2)+3+1]);
					//пропускаем первые три байта, массив времени и массив давления
					book_valve_state[i] = (uint8_t)(received_usb_data[(i)+(book_len*4)+3]);
					//пропускаем первые три байта, массив времени и массив давления и массив состояний клапанов
					book_engine_state[i] = (uint8_t)(received_usb_data[(i)+(book_len*5)+3]);
				}
				// обновление параметров
				book_load = 1;
				param_load = 0;
				exper_run = 0;
				request_answer = 1;
        ClearBuffer(received_usb_data,&receive_usb_total);
		    receive_usb_total = 0;
		    clear_i = 0;
			}
			// принята команда запроса данных
			if (received_usb_data[0] == 0xBF && received_usb_data[1] == 0x04)
			{
				hearth_bit_answer ++;
				request_data = 1;
        ClearBuffer(received_usb_data,&receive_usb_total);
		    receive_usb_total = 0;
		    clear_i = 0;
			}
			// принята команда старт испытания 1
			if (received_usb_data[0] == 0xBB && received_usb_data[1] == 0x04 && flag_emergency_mode == 0)
			{
				exper_run = 1;
        ClearBuffer(received_usb_data,&receive_usb_total);
		    receive_usb_total = 0;
		    clear_i = 0;
			}
			// принята команда на слив
			if (received_usb_data[0] == 0xB1 && received_usb_data[1] == 0x04)
			{
				Engine_2_Command = -1;
				exper_run = 0;
        ClearBuffer(received_usb_data,&receive_usb_total);
		    receive_usb_total = 0;
		    clear_i = 0;
			}
			// принята команда остановки
			if (received_usb_data[0] == 0xEE && received_usb_data[1] == 0x04)
			{
				Engine_2_Command = 0;
				exper_run = 0;
				//все выключаем
				HAL_GPIO_WritePin(Klapan_1_off);
				HAL_GPIO_WritePin(Klapan_2_off);
				HAL_GPIO_WritePin(Klapan_3_off);
				HAL_GPIO_WritePin(Klapan_4_off);
				HAL_GPIO_WritePin(Klapan_5_off);
				HAL_GPIO_WritePin(Klapan_6_off);
			  //Отправка давления в регулятор давления = 0
			  Send_Pressure_RS232(0);
			  //выключение ЭД1 и ЭД2
			  HAL_GPIO_WritePin(Engine_1_off);
				HAL_GPIO_WritePin(Engine_2_start_off);
				HAL_GPIO_WritePin(Engine_2_reverse_off);

        ClearBuffer(received_usb_data,&receive_usb_total);
		    receive_usb_total = 0;
		    clear_i = 0;
        osDelay(100);
				// Флаг остановки по команде оператора
				flag_operator_stop = 1;
			}
			// сброс флага принятого сообщения
		new_message_flag = 0;
		}
		//обнуление буфера раз в секунду
		if (clear_i >= 100)
		{
		ClearBuffer(received_usb_data,&receive_usb_total);
		receive_usb_total = 0;
		clear_i = 0;
		}
		clear_i ++;
		osDelay(10);
	}  /* USER CODE END Read_USB */
}
void Send_UART1(void const * argument)
{
  /* USER CODE BEGIN Send_UART1 */
  /* Infinite loop */
	uint8_t rx_test_bytes[64];
  for(;;)
  {
    xStatus_Tx_UART1 = xQueueReceive(UART1_Tx_Que, &tx1_buffer_go, portMAX_DELAY );
	  HAL_GPIO_WritePin(GPIOA,GPIO_PIN_8,GPIO_PIN_SET);
	  TransmitStatusUART1 = HAL_UART_Transmit(&huart1,(uint8_t*)tx1_buffer_go, len_tx1_buffer, 10);
	  if (TransmitStatusUART1 == HAL_OK)
		{
			ClearBuffer(tx1_buffer_go,&len_tx1_buffer);
	  }
	// А С НОВОЙ МИКРУХОЙ БЛЯТЬ РАБОТАЕТ !!!!!!!!!
	// СВЯТАЯ ЗАДЕРЖКА в 3 мс, без нее ZETLAB не работает
	// но и с ней херово работает, не принимает первый байт, адрес устройства и ПОЭТОМУ ПРИМАЕМ ПО 8 БАЙТ
	// его дописываем руками в приеме
	//osDelay(3);
	  HAL_GPIO_WritePin(GPIOA,GPIO_PIN_8,GPIO_PIN_RESET);
//	osDelay(50);
//	HAL_UART_Receive(&huart1,(uint8_t*)&rx1_byte,9,100);
//	osDelay(50);
	  HAL_UART_Receive_IT (&huart1,(uint8_t*)&rx1_byte,9);
  }
  /* USER CODE END Send_UART1 */
}
void Send_UART2(void const * argument)
{
  /* USER CODE BEGIN Send_UART2 */
  /* Infinite loop */
  for(;;)
  {
		//	osDelay(50);
//	HAL_UART_Receive(&huart2,(uint8_t*)&rx2_byte,4,100);
//	osDelay(50);
	  HAL_UART_Receive_IT (&huart2,rx2_byte,4);
    xStatus_Tx_UART2 = xQueueReceive(UART2_Tx_Que, &tx2_buffer_go, portMAX_DELAY );
	  TransmitStatusUART2 = HAL_UART_Transmit(&huart2,(uint8_t*)tx2_buffer_go, len_tx2_buffer, 10);
	  if (TransmitStatusUART2 == HAL_OK){
		  ClearBuffer(tx2_buffer_go,&len_tx2_buffer);
	  }
  }
  /* USER CODE END Send_UART2 */
}
void ReceiveUART1(void const * argument)
{
  /* USER CODE BEGIN ReceiveCommand */
	uint8_t rx1_byte_rtos[9];
	uint8_t uart1_i = 0;
	//uint8_t rx2_byte_rtos[4];
	//uint8_t uart2_i = 0;
  /* Infinite loop */
  for(;;)
  {
		xStatus_Rx_UART1 = xQueueReceive(UART1_Rx_Que, &rx1_byte_rtos, portMAX_DELAY );
		//считываем момент
		//так как первый байт не принимаем, пишем его руками и ПОЭТОМУ ПРИМАЕМ ПО 8 БАЙТ
		//rx1_message[0] = 0x05;
		for (uart1_i=0;uart1_i<=sizeof(rx1_byte_rtos)/sizeof(rx1_byte_rtos[0]);uart1_i++ ){
		// +1 так как первый байт не принимаем
		//rx1_message[uart1_i+1] = rx1_byte_rtos[uart1_i];
			rx1_message[uart1_i] = rx1_byte_rtos[uart1_i];
		}
		rx1_message_count=9;
		new_message_flag_uart = Check_crc_16_modbus(rx1_message,rx1_message_count);
//		// А это надо так как иногда мы принимаем с третьего байта а не со второго
//		// два байта пишем ручками
//		if (new_message_flag_uart != 1){
//		//так как первый байт не принимаем, пишем его руками
//		rx1_message[0] = 0x05;
//		rx1_message[1] = 0x03;
//		for (uart1_i=0;uart1_i<=sizeof(rx1_byte_rtos)/sizeof(rx1_byte_rtos[0]);uart1_i++ ){
//		// +1 так как первый байт не принимаем
//		rx1_message[uart1_i+2] = rx1_byte_rtos[uart1_i];
//		}
//		rx1_message_count=9;
//		new_message_flag_uart = Check_crc_16_modbus(rx1_message,rx1_message_count);
//		}
	  if (new_message_flag_uart == 1)
		{
			zetlab_wait_answer = 0;
			// D6 6D 42 9E
		 //bytes = {0x6D,0xD6,0x9E,0x42};
			bytes[0]=rx1_message[4];
			bytes[1]=rx1_message[3];
			bytes[2]=rx1_message[6];
			bytes[3]=rx1_message[5];
			moment_float =*(float *)&bytes;
			// умножаем на 2, чтоб была точность 0.5,
			if (moment_float < 0) moment = 0;
			else moment = roundf((moment_float)*2);
      new_message_flag_uart = 0;
	  }

		for (uart1_i=0;uart1_i<=sizeof(rx1_byte_rtos)/sizeof(rx1_byte_rtos[0]);uart1_i++ ){
		rx1_message[uart1_i] = 0;
		rx1_byte_rtos[uart1_i] = 0;
		}
//		rx1_message_count=9;
//		new_message_flag_uart = Check_crc_16_modbus(rx1_byte,rx1_message_count);
//	  if (new_message_flag_uart == 1)
//		{
//			zetlab_wait_answer = 0;
//			// D6 6D 42 9E
//		 //bytes = {0x6D,0xD6,0x9E,0x42};
//			bytes[0]=rx1_byte[4];
//			bytes[1]=rx1_byte[3];
//			bytes[2]=rx1_byte[6];
//			bytes[3]=rx1_byte[5];
//			moment_float =*(float *)&bytes;
//			// умножаем на 2, чтоб была точность 0.5, -0.4 - калибровка
//			moment = roundf((moment_float-0.4)*2);
//      new_message_flag_uart = 0;
//	  }
//		else if (rx2_byte[0] == 0x04 && rx2_byte[1] == 0xBF) {
//			pressure_wait_answer = 0;
//			pressure=((uint16_t)rx2_byte[2] << 8) | rx2_byte[3];
//		}
//		for (uart_i=0;uart_i<=sizeof(rx1_byte)/sizeof(rx1_byte[0]);uart_i++ ){
//		rx1_byte[uart_i] = 0;
//		}
//		for (uart_i=0;uart_i<=sizeof(rx2_byte)/sizeof(rx2_byte[0]);uart_i++ ){
//		rx2_byte[uart_i] = 0;
//		}
//		osDelay(100);
  }
  /* USER CODE END ReceiveCommand */
}
void ReceiveUART2(void const * argument)
{
  /* USER CODE BEGIN ReceiveCommand */
	uint8_t rx2_byte_rtos[4];
//	uint8_t uart2_i = 0;
	//uint8_t rx2_byte_rtos[4];
	//uint8_t uart2_i = 0;
  /* Infinite loop */
  for(;;)
  {
		xStatus_Rx_UART2 = xQueueReceive(UART2_Rx_Que, &rx2_byte_rtos, portMAX_DELAY );
		//Считываем давление
		if (rx2_byte_rtos[0] == 0x04 && rx2_byte_rtos[1] == 0xBF) {
			pressure_not_connected = 0;
			pressure_wait_answer = 0;
			pressure=((uint16_t)rx2_byte_rtos[2] << 8) | rx2_byte_rtos[3];
		}
  }
  /* USER CODE END ReceiveCommand */
}
uint16_t cl_i =0;
void ClearBuffer(uint8_t *buffer,uint16_t *len_buffer)
{
	cl_i = 0;
	for(cl_i=0;cl_i<=*len_buffer;cl_i++){
		buffer[cl_i] = 0;
	}
	*len_buffer = 0;
}
void Send_Pressure_RS232(uint16_t value){
	p_value_rs232 = (uint16_t)(value);
	//установка требуемого давления
	tx2_buffer_que[0] = 0x04;
	tx2_buffer_que[1] = 0x21;
	//tx2_buffer_que[1] = 0xBF;
	tx2_buffer_que[2] = (uint8_t)(p_value_rs232 >> 8);
  tx2_buffer_que[3] = (uint8_t)(p_value_rs232);
	len_tx2_buffer = 4;
	//включаем прием сообщения
	//HAL_UART_Receive_IT (&huart2,(uint8_t*)&rx2_byte,4);
	// отправляем запрос давления
	xStatus_Tx_UART2 = xQueueSendToBack(UART2_Tx_Que,&tx2_buffer_que,0);
}
uint16_t crc_16_ibm(uint8_t *buf, uint16_t len)
{
  uint16_t crc = 0;
  uint16_t j;
  while (len--) {
    crc ^= *buf++;
    for (j = 0; j < 8; j++)
		{
			crc = (crc >> 1) ^ ((crc & 1) ? 0xa001 : 0);
		}
  }
return crc;
}
uint16_t CRC16_2(unsigned char *buf, int len)
{
  unsigned int crc = 0xFFFF;
  for (int pos = 0; pos < len; pos++)
  {
  crc ^= (unsigned int)buf[pos];    // XOR byte into least sig. byte of crc

  for (int i = 8; i != 0; i--) {    // Loop over each bit
    if ((crc & 0x0001) != 0) {      // If the LSB is set
      crc >>= 1;                    // Shift right and XOR 0xA001
      crc ^= 0xA001;
    }
    else                            // Else LSB is not set
      crc >>= 1;                    // Just shift right
    }
  }

  return crc;
}
uint16_t control_crc16 = 0;
uint8_t Check_crc_16(uint8_t *buf, uint16_t len)
{
	 control_crc16 = crc_16_ibm(buf, len-2);
	 if (buf[len-1] == (uint8_t)(control_crc16) &&
		   buf[len-2] == (uint8_t)(control_crc16 >> 8))
	 {
		 return 1;
	 }
	 else return 0;
}
uint8_t Check_crc_16_modbus(uint8_t *buf, uint16_t len)
{
	 control_crc16 = CRC16_2(buf, len-2);
	 if (buf[len-2] == (uint8_t)(control_crc16) &&
		   buf[len-1] == (uint8_t)(control_crc16 >> 8))
	 {
		 return 1;
	 }
	 else return 0;
}
void Control_Engine_2(int8_t command, uint8_t Klapan_6_Readed)
{
	if (Klapan_6_Readed == 1 && command == 1) HAL_GPIO_WritePin(Klapan_6_on);
	else HAL_GPIO_WritePin(Klapan_6_off);
	// остановка
	if (command == 0 && Engine_2_StateStop == 0){
	  // закрытие КЭ6
	  HAL_GPIO_WritePin(Klapan_6_off);
	  //включение ЭД2
	  HAL_GPIO_WritePin(Engine_2_stop_on);
	  osDelay(100);
	  HAL_GPIO_WritePin(Engine_2_stop_off);
	  // Статус запуска двигателя 2
	  Engine_2_StateStart = 0;
	  // Статус остановки двигателя 2
	  Engine_2_StateStop = 1;
	  // Статус реверса двигателя 2
	  Engine_2_StateReverse = 0;
	}
	if (command == 1 && Engine_2_StateStart == 0){
	  //заполнение жидкостью
	  //включение ЭД2
	  HAL_GPIO_WritePin(Engine_2_start_on);
	  osDelay(100);
	  HAL_GPIO_WritePin(Engine_2_start_off);
	  // Статус запуска двигателя 2
	  Engine_2_StateStart = 1;
	  // Статус остановки двигателя 2
	  Engine_2_StateStop = 0;
	  // Статус реверса двигателя 2
	  Engine_2_StateReverse = 0;
	}
	if (command == -1 && Engine_2_StateReverse == 0){
	//откачка жидкости
	HAL_GPIO_WritePin(Klapan_3_on);
	HAL_GPIO_WritePin(Klapan_4_on);
	HAL_GPIO_WritePin(Klapan_5_on);
	//включение ЭД2 в режиме
	HAL_GPIO_WritePin(Engine_2_reverse_on);
	osDelay(100);
	HAL_GPIO_WritePin(Engine_2_reverse_off);
	// Статус запуска двигателя 2
	Engine_2_StateStart = 0;
	// Статус остановки двигателя 2
	Engine_2_StateStop = 0;
	// Статус реверса двигателя 2
	Engine_2_StateReverse = 1;
	}
}

void My_Delay(uint32_t time_delay)
{
	// Тут есть отключение 2 и 5 клапана
	uint16_t period_delay = 200;
	uint32_t count_delay = 0;
	for (count_delay=0;count_delay<time_delay;count_delay=count_delay+period_delay){
		if (exper_run == 0 || flag_emergency_mode==1) break;
		else {
			// состояние клапана 2 и 5
			if (i_exper <= 1 && liquid_level >= h_max) {
				HAL_GPIO_WritePin(Klapan_2_off);
				HAL_GPIO_WritePin(Klapan_5_off);
			}
			osDelay(period_delay);
		}
	}
}
void My_Emergency(uint32_t time_delay)
{
	uint16_t period_delay = 200;
	uint32_t count_delay = 0;
	for (count_delay=0;count_delay<time_delay;count_delay=count_delay+period_delay){
			osDelay(period_delay);
			time_emergency_mode = time_emergency_mode - 2;
	}
}
/* USER CODE END Application */

/************************ (C) COPYRIGHT STMicroelectronics *****END OF FILE****/
